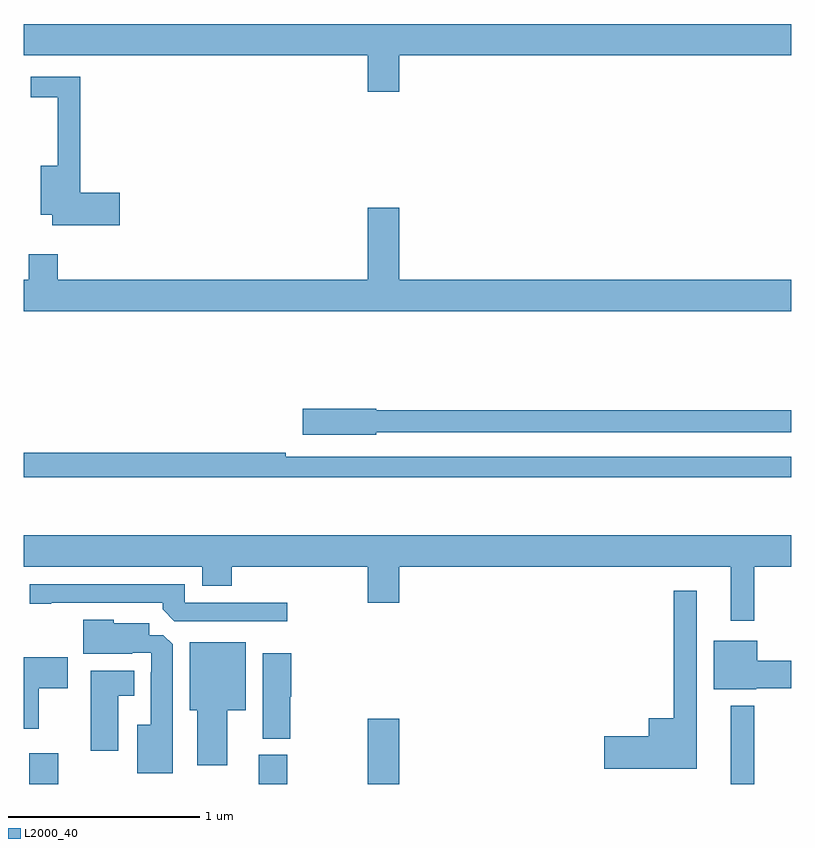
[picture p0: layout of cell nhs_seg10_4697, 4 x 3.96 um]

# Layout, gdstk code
import gdstk
lib = gdstk.Library(unit=1e-6, precision=1e-09)
def R(c, l, rs):  # rectangles x0, y0, x1, y1
    for r in rs: c.add(gdstk.rectangle(r[:2], r[2:], *l))
def P(c, l, *ps):  # polygons
    for p in ps: c.add(gdstk.Polygon(p, *l))
L2000_40 = (2000, 40)

nhs_seg10_4697 = lib.new_cell('nhs_seg10_4697')
R(nhs_seg10_4697, L2000_40, [(379.028,1316.5,379.18,1316.659), (380.225,1316.5,380.373,1316.652), (380.792,1316.5,380.956,1316.839), (382.685,1316.5,382.807,1316.908)])
P(nhs_seg10_4697, L2000_40, [(380.956,1320.296),(383,1320.296),(383,1320.46),(379,1320.46),(379,1320.296),(380.792,1320.296),(380.792,1320.108),(380.956,1320.108)],
  [(379.501,1319.582),(379.295,1319.582),(379.295,1320.186),(379.038,1320.186),(379.038,1320.078),(379.178,1320.078),(379.178,1319.722),(379.088,1319.722),(379.088,1319.465),(379.148,1319.465),(379.148,1319.411),(379.501,1319.411)],
  [(383,1319.128),(380.956,1319.128),(380.956,1319.503),(380.792,1319.503),(380.792,1319.128),(379.178,1319.128),(379.178,1319.26),(379.026,1319.26),(379.026,1319.128),(379,1319.128),(379,1318.964),(383,1318.964)],
  [(380.838,1318.332),(383,1318.332),(383,1318.448),(380.838,1318.448),(380.838,1318.454),(380.454,1318.454),(380.454,1318.319),(380.838,1318.319)],
  [(383,1318.206),(380.366,1318.206),(380.366,1318.226),(379,1318.226),(379,1318.098),(383,1318.098)],
  [(382.807,1317.632),(383,1317.632),(383,1317.796),(379,1317.796),(379,1317.632),(379.931,1317.632),(379.931,1317.533),(380.084,1317.533),(380.084,1317.632),(380.792,1317.632),(380.792,1317.444),(380.956,1317.444),(380.956,1317.632),(382.685,1317.632),(382.685,1317.351),(382.807,1317.351)],
  [(380.374,1317.444),(379.839,1317.444),(379.839,1317.54),(379.032,1317.54),(379.032,1317.439),(379.144,1317.439),(379.144,1317.444),(379.724,1317.444),(379.724,1317.41),(379.785,1317.348),(380.374,1317.348)],
  [(382.507,1317.508),(382.386,1317.508),(382.386,1316.842),(382.256,1316.842),(382.256,1316.75),(382.026,1316.75),(382.026,1316.579),(382.507,1316.579)],
  [(379.777,1317.227),(379.728,1317.276),(379.654,1317.276),(379.654,1317.337),(379.47,1317.337),(379.47,1317.355),(379.31,1317.355),(379.31,1317.179),(379.565,1317.179),(379.565,1317.183),(379.665,1317.183),(379.665,1317.083),(379.661,1317.083),(379.661,1316.809),(379.592,1316.809),(379.592,1316.555),(379.777,1316.555)],
  [(382.818,1316.999),(383,1316.999),(383,1317.141),(382.822,1317.141),(382.822,1317.247),(382.595,1317.247),(382.595,1316.993),(382.818,1316.993)],
  [(380.062,1316.885),(380.158,1316.885),(380.158,1317.238),(379.865,1317.238),(379.865,1316.885),(379.904,1316.885),(379.904,1316.598),(380.062,1316.598)],
  [(380.388,1316.955),(380.393,1316.955),(380.393,1317.181),(380.246,1317.181),(380.246,1316.737),(380.388,1316.737)],
  [(379.078,1316.998),(379.231,1316.998),(379.231,1317.16),(379,1317.16),(379,1316.787),(379.078,1316.787)],
  [(379.492,1316.96),(379.576,1316.96),(379.576,1317.091),(379.349,1317.091),(379.349,1316.673),(379.492,1316.673)])

lib.write_gds('nhs_seg10_4697.gds')
